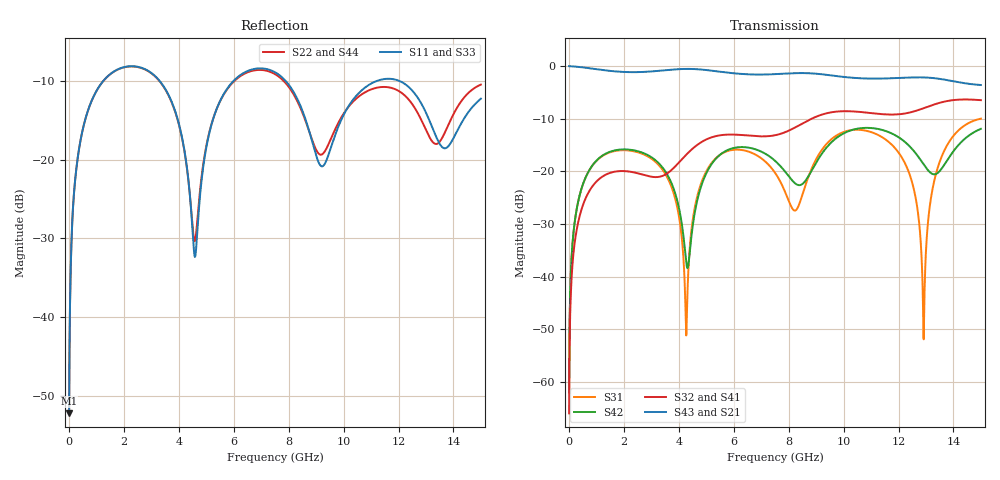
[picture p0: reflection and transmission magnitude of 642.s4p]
! Created with skrf 1.8.0 (http://scikit-rf.org).
# GHz S RI R 50.0
!freq ReS11 ImS11 ReS12 ImS12 ReS13 ImS13
! ReS14 ImS14
! ReS21 ImS21 ReS22 ImS22 ReS23 ImS23
! ReS24 ImS24
! ReS31 ImS31 ReS32 ImS32 ReS33 ImS33
! ReS34 ImS34
! ReS41 ImS41 ReS42 ImS42 ReS43 ImS43
! ReS44 ImS44
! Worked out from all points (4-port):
!   2499 points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, 5 MHz to 15 GHz, reference 50 ohm
!   strongest paths, dB at 5 MHz, 3.476 GHz, 7.19 GHz, 11.1 GHz, 15 GHz:
!     S43: 0.0, -0.8, -1.6, -2.4, -3.6
!     S21: 0.0, -0.8, -1.6, -2.4, -3.6
!     S32: -65.9, -20.7, -13.3, -9.0, -6.5
!     S41: -65.9, -20.7, -13.4, -9.0, -6.5
!     S42: -61.9, -19.8, -16.8, -11.8, -11.9
!     S31: -61.9, -20.2, -18.3, -12.7, -10.0
!   lowest |S11| = -52.2 dB at 5 MHz (marker M1), VSWR 1.00, Z = 50.2 + j0.149 ohm
!   |S11| at or under -10 dB: 3.3 GHz to 5.995 GHz (2.695 GHz wide, 58 % of centre); 7.887 GHz to 11.22 GHz (3.334 GHz wide, 34.9 % of centre); 12.02 GHz to end of sweep (the widest 3 of 4)
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0.005  0.00195 0.00148  0.998 -0.0038  9.97e-05 0.000793  -9.68e-05 -0.000495
       0.998 -0.0038  0.00195 0.00148  -9.68e-05 -0.000495  9.99e-05 0.000793
       9.97e-05 0.000793  -9.68e-05 -0.000495  0.00195 0.00148  0.998 -0.0038
       -9.68e-05 -0.000495  9.99e-05 0.000793  0.998 -0.0038  0.00195 0.00148
1.3193  0.2752 0.1748  0.5396 -0.7338  0.13 0.0646  -0.0924 -0.00459
        0.5396 -0.7338  0.2737 0.1758  -0.0924 -0.00453  0.1342 0.0589
        0.13 0.0646  -0.0924 -0.00453  0.2752 0.1748  0.5396 -0.7337
        -0.0924 -0.00459  0.1342 0.0589  0.5396 -0.7337  0.2738 0.1758
4.270529  0.042 -0.0864  -0.8974 -0.2796  0.00276 0.00024  -0.0388 0.1387
          -0.8974 -0.2796  0.0477 -0.0819  -0.0381 0.1389  -0.012 -0.00654
          0.00276 0.00024  -0.0381 0.1389  0.0415 -0.0873  -0.8972 -0.2799
          -0.0388 0.1387  -0.012 -0.00654  -0.8972 -0.2799  0.0486 -0.0824
7.090454  0.3773 -0.029  -0.00746 0.8304  0.1083 -0.0679  0.2088 -0.0478
          -0.00746 0.8304  0.369 -0.0195  0.2091 -0.05  0.1091 -0.1031
          0.1083 -0.0679  0.2091 -0.05  0.3741 -0.0269  -0.00736 0.8316
          0.2088 -0.0478  0.1091 -0.1031  -0.00736 0.8316  0.3663 -0.0216
11.62359  0.3242 -0.0343  0.1406 -0.7522  0.1869 -0.0451  -0.3452 0.0123
          0.1406 -0.7522  0.2869 -0.0249  -0.3465 0.0174  0.1989 -0.129
          0.1869 -0.0451  -0.3465 0.0174  0.3258 -0.0306  0.14 -0.7512
          -0.3452 0.0123  0.1989 -0.129  0.14 -0.7512  0.2918 -0.0281
12.91788  0.1714 -0.1256  -0.5021 -0.5979  -0.00244 -0.000729  -0.2988 0.2633
          -0.5021 -0.5979  0.1531 -0.0633  -0.2945 0.2681  -0.0629 -0.0979
          -0.00244 -0.000729  -0.2945 0.2681  0.175 -0.1251  -0.5017 -0.5976
          -0.2988 0.2633  -0.0629 -0.0979  -0.5017 -0.5976  0.1532 -0.0679
15  0.2407 0.0364  -0.5831 0.3101  0.2793 0.1495  0.3037 0.3615
    -0.5831 0.3101  0.2961 0.0428  0.3097 0.3596  0.2139 0.1361
    0.2793 0.1495  0.3097 0.3596  0.2329 0.0342  -0.5837 0.3106
    0.3037 0.3615  0.2139 0.1361  -0.5837 0.3106  0.2985 0.0381
